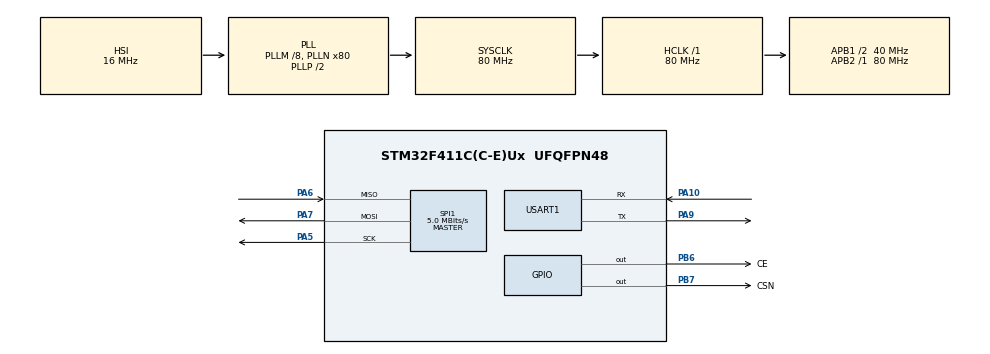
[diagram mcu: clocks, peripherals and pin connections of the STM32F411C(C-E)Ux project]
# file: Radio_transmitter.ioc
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Mcu.Family=STM32F4
Mcu.Name=STM32F411C(C-E)Ux
Mcu.Package=UFQFPN48
NVIC.PriorityGroup=NVIC_PRIORITYGROUP_4
NVIC.USART1_IRQn=true\:0\:0\:false\:false\:true\:true\:true\:true
PA10.Mode=Asynchronous
PA10.Signal=USART1_RX
PA13.Mode=Serial_Wire
PA13.Signal=SYS_JTMS-SWDIO
PA14.Mode=Serial_Wire
PA14.Signal=SYS_JTCK-SWCLK
PA5.Mode=Full_Duplex_Master
PA5.Signal=SPI1_SCK
PA6.Mode=Full_Duplex_Master
PA6.Signal=SPI1_MISO
PA7.Mode=Full_Duplex_Master
PA7.Signal=SPI1_MOSI
PA9.Mode=Asynchronous
PA9.Signal=USART1_TX
PB6.GPIO_Label=CE
PB6.GPIO_Speed=GPIO_SPEED_FREQ_HIGH
PB6.PinState=GPIO_PIN_RESET
PB6.Signal=GPIO_Output
PB7.GPIO_Label=CSN
PB7.GPIO_Speed=GPIO_SPEED_FREQ_HIGH
PB7.Signal=GPIO_Output
PH0\ -\ OSC_IN.Mode=HSE-External-Oscillator
PH0\ -\ OSC_IN.Signal=RCC_OSC_IN
PH1\ -\ OSC_OUT.Mode=HSE-External-Oscillator
PH1\ -\ OSC_OUT.Signal=RCC_OSC_OUT
ProjectManager.HeapSize=0x200
ProjectManager.StackSize=0x400
ProjectManager.TargetToolchain=STM32CubeIDE
RCC.48MHZClocksFreq_Value=40000000
RCC.AHBFreq_Value=80000000
RCC.APB1CLKDivider=RCC_HCLK_DIV2
RCC.APB1Freq_Value=40000000
RCC.APB1TimFreq_Value=80000000
RCC.APB2Freq_Value=80000000
RCC.APB2TimFreq_Value=80000000
RCC.CortexFreq_Value=80000000
RCC.HCLKFreq_Value=80000000
RCC.HSE_VALUE=25000000
RCC.HSI_VALUE=16000000
RCC.LSE_VALUE=32768
RCC.PLLM=8
RCC.PLLN=80
RCC.SYSCLKFreq_VALUE=80000000
RCC.SYSCLKSource=RCC_SYSCLKSOURCE_PLLCLK
RCC.VCOOutputFreq_Value=160000000
SPI1.BaudRatePrescaler=SPI_BAUDRATEPRESCALER_16
SPI1.CalculateBaudRate=5.0 MBits/s
SPI1.Direction=SPI_DIRECTION_2LINES
SPI1.Mode=SPI_MODE_MASTER
SPI1.VirtualType=VM_MASTER
USART1.VirtualMode=VM_ASYNC
board=custom

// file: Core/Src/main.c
/* USER CODE BEGIN Header */
/**
  ******************************************************************************
  * @file           : main.c
  * @brief          : Main program body
  ******************************************************************************
  * @attention
  *
  * Copyright (c) 2025 STMicroelectronics.
  * All rights reserved.
  *
  * This software is licensed under terms that can be found in the LICENSE file
  * in the root directory of this software component.
  * If no LICENSE file comes with this software, it is provided AS-IS.
  *
  ******************************************************************************
  */
/* USER CODE END Header */
#include "main.h"

/* USER CODE BEGIN Includes */
#include <math.h>
#include <stdio.h>
#include <string.h>
#include <inttypes.h>
#include "NRF24.h"
#include "NRF24_reg_addresses.h"
/* USER CODE END Includes */

/* USER CODE BEGIN PTD */

#pragma pack(push, 1)
typedef struct {
    uint8_t id;
    float Vx, Vy, Vang;
    uint8_t kicker;
    uint8_t config;
    uint8_t param;
} Pacote;
#pragma pack(pop)

uint8_t addr[5] = {'C', 'E', 'R', 'B', 'R'};
uint8_t channel = 83;
uint8_t pld_size = sizeof(Pacote);

Pacote pct_undf;
Pacote pct_robo[16];
uint8_t pendente_undf;
uint8_t pendente[16];
/* USER CODE END PTD */

SPI_HandleTypeDef hspi1;

UART_HandleTypeDef huart1;

void SystemClock_Config(void);
static void MX_GPIO_Init(void);
static void MX_SPI1_Init(void);
static void MX_USART1_UART_Init(void);

/* USER CODE BEGIN 0 */
uint8_t usart_rx[sizeof(Pacote) + 2];
Pacote pacote_recebido;
Pacote pct_temp;
void processa_pacote(uint8_t* buffer) {
    if (buffer[0] == 0xAA && buffer[1] == 0xBB) {
        memcpy(&pacote_recebido, &buffer[2], sizeof(Pacote));

        memcpy(&pct_temp, &buffer[2], sizeof(Pacote));
        if(pct_temp.id != 0xFF){
        	memcpy(&pct_robo[pacote_recebido.id], &buffer[2], sizeof(Pacote));
            pendente[pacote_recebido.id] = 1;
        } else {
        	memcpy(&pct_undf, &buffer[2], sizeof(Pacote));
        	pendente_undf = 1;
        }
    }
}
void HAL_UART_RxCpltCallback(UART_HandleTypeDef *huart) {
    if (huart->Instance == USART1) {
        processa_pacote(usart_rx);
        HAL_UART_Receive_IT(&huart1, usart_rx, sizeof(usart_rx));  // reinicia recepção
    }
}
/* USER CODE END 0 */

int main(void)
{

  /* MCU Configuration--------------------------------------------------------*/

  /* Reset of all peripherals, Initializes the Flash interface and the Systick. */
  HAL_Init();

  /* Configure the system clock */
  SystemClock_Config();

  /* Initialize all configured peripherals */
  MX_GPIO_Init();
  MX_SPI1_Init();
  MX_USART1_UART_Init();
  /* USER CODE BEGIN 2 */
  ce_high();

  HAL_Delay(5);

  ce_low();

  nrf24_init();

  nrf24_auto_ack_all(auto_ack);
  nrf24_en_ack_pld(disable);
  nrf24_dpl(disable);

  nrf24_tx_pwr(_0dbm);
  nrf24_data_rate(_2mbps);
  nrf24_set_channel(channel);
  nrf24_set_addr_width(5);

  nrf24_pipe_pld_size(0, pld_size);
  nrf24_set_crc(en_crc, _1byte);

  nrf24_auto_retr_delay(0);
  nrf24_auto_retr_limit(5);

  nrf24_open_tx_pipe(addr);
  nrf24_open_rx_pipe(0, addr);

  nrf24_stop_listen();

  ce_high();
  HAL_Delay(5);

  char welcome_msg[] = "Estacao de rádio pronta!\r\n";
  HAL_UART_Transmit(&huart1, (uint8_t*)welcome_msg, strlen(welcome_msg), 100); // 100ms de timeout

  for (int i = 0; i < 16; i++) {
      pct_robo[i].id = i;
      pct_robo[i].Vx = 0;
      pct_robo[i].Vy = 0;
      pct_robo[i].Vang = 0;
      pct_robo[i].kicker = 0;
      pct_robo[i].config = 0;
      pct_robo[i].param = 0;
      pendente[i] = 0;
  }
  pct_undf.id = 0xFF;
  pct_undf.Vx = 0;
  pct_undf.Vy = 0;
  pct_undf.Vang = 0;
  pct_undf.kicker = 0;
  pct_undf.config = 0;
  pct_undf.param = 0;
  pendente_undf = 0;

  pct_temp.id = 0xFF;
  pct_temp.Vx = 0;
  pct_temp.Vy = 0;
  pct_temp.Vang = 0;
  pct_temp.kicker = 0;
  pct_temp.config = 0;
  pct_temp.param = 0;

  HAL_UART_Receive_IT(&huart1, usart_rx, sizeof(usart_rx));  // primeira chamada

  /* USER CODE END 2 */

  /* Infinite loop */
  /* USER CODE BEGIN WHILE */
  while (1)
  {

	  uint8_t tx_buffer[pld_size];
	  char tx_usart_buffer[64];
	  char msg[64];
	  for (int i = 0; i < 16 ; i++){
		  if (pendente[i]){
			  memcpy(tx_buffer, &pct_robo[i], sizeof(Pacote));
			  sprintf(tx_usart_buffer, "\nPacote enviado para robo %d\n", pct_robo[i].id);
			  snprintf(msg, sizeof(msg), "%d %.2f %.2f %.2f %d %d %d\r\n",
					   pct_robo[i].id,
					   pct_robo[i].Vx,
					   pct_robo[i].Vy,
					   pct_robo[i].Vang,
					   pct_robo[i].kicker,
					   pct_robo[i].config,
					   pct_robo[i].param);

			  if (nrf24_transmit(tx_buffer, pld_size)) {
				  HAL_UART_Transmit(&huart1, (uint8_t*)tx_usart_buffer, strlen(tx_usart_buffer), 100);
				  HAL_UART_Transmit(&huart1, (uint8_t*)msg, strlen(msg), 100);
				  pendente[i] = 0;
			  }
			  else {
				  i--;	//nao sei, resolveu, ele simplesmente nao transmite os pares sem isso. deve ser bobeira
			  }
		  }
		  if (pendente_undf){
		  			  memcpy(tx_buffer, &pct_undf, sizeof(Pacote));
		  			  sprintf(tx_usart_buffer, "\nPacote enviado para robo %d\n", pct_undf.id);
		  			  snprintf(msg, sizeof(msg), "%d %.2f %.2f %.2f %d %d %d\r\n",
		  					   pct_undf.id,
							   pct_undf.Vx,
							   pct_undf.Vy,
							   pct_undf.Vang,
							   pct_undf.kicker,
							   pct_undf.config,
							   pct_undf.param);

		  			  if (nrf24_transmit(tx_buffer, pld_size)) {
		  				  HAL_UART_Transmit(&huart1, (uint8_t*)tx_usart_buffer, strlen(tx_usart_buffer), 100);
		  				  HAL_UART_Transmit(&huart1, (uint8_t*)msg, strlen(msg), 100);
		  				  pendente_undf = 0;
		  			  }
	  }
  }
    /* USER CODE END WHILE */

}
}

void SystemClock_Config(void)
{
  RCC_OscInitTypeDef RCC_OscInitStruct = {0};
  RCC_ClkInitTypeDef RCC_ClkInitStruct = {0};

  /** Configure the main internal regulator output voltage
  */
  __HAL_RCC_PWR_CLK_ENABLE();
  __HAL_PWR_VOLTAGESCALING_CONFIG(PWR_REGULATOR_VOLTAGE_SCALE1);

  /** Initializes the RCC Oscillators according to the specified parameters
  * in the RCC_OscInitTypeDef structure.
  */
  RCC_OscInitStruct.OscillatorType = RCC_OSCILLATORTYPE_HSI;
  RCC_OscInitStruct.HSIState = RCC_HSI_ON;
  RCC_OscInitStruct.HSICalibrationValue = RCC_HSICALIBRATION_DEFAULT;
  RCC_OscInitStruct.PLL.PLLState = RCC_PLL_ON;
  RCC_OscInitStruct.PLL.PLLSource = RCC_PLLSOURCE_HSI;
  RCC_OscInitStruct.PLL.PLLM = 8;
  RCC_OscInitStruct.PLL.PLLN = 80;
  RCC_OscInitStruct.PLL.PLLP = RCC_PLLP_DIV2;
  RCC_OscInitStruct.PLL.PLLQ = 4;
  if (HAL_RCC_OscConfig(&RCC_OscInitStruct) != HAL_OK)
  {
    Error_Handler();
  }

  /** Initializes the CPU, AHB and APB buses clocks
  */
  RCC_ClkInitStruct.ClockType = RCC_CLOCKTYPE_HCLK|RCC_CLOCKTYPE_SYSCLK
                              |RCC_CLOCKTYPE_PCLK1|RCC_CLOCKTYPE_PCLK2;
  RCC_ClkInitStruct.SYSCLKSource = RCC_SYSCLKSOURCE_PLLCLK;
  RCC_ClkInitStruct.AHBCLKDivider = RCC_SYSCLK_DIV1;
  RCC_ClkInitStruct.APB1CLKDivider = RCC_HCLK_DIV2;
  RCC_ClkInitStruct.APB2CLKDivider = RCC_HCLK_DIV1;

  if (HAL_RCC_ClockConfig(&RCC_ClkInitStruct, FLASH_LATENCY_2) != HAL_OK)
  {
    Error_Handler();
  }
}

static void MX_SPI1_Init(void)
{

  /* SPI1 parameter configuration*/
  hspi1.Instance = SPI1;
  hspi1.Init.Mode = SPI_MODE_MASTER;
  hspi1.Init.Direction = SPI_DIRECTION_2LINES;
  hspi1.Init.DataSize = SPI_DATASIZE_8BIT;
  hspi1.Init.CLKPolarity = SPI_POLARITY_LOW;
  hspi1.Init.CLKPhase = SPI_PHASE_1EDGE;
  hspi1.Init.NSS = SPI_NSS_SOFT;
  hspi1.Init.BaudRatePrescaler = SPI_BAUDRATEPRESCALER_8;
  hspi1.Init.FirstBit = SPI_FIRSTBIT_MSB;
  hspi1.Init.TIMode = SPI_TIMODE_DISABLE;
  hspi1.Init.CRCCalculation = SPI_CRCCALCULATION_DISABLE;
  hspi1.Init.CRCPolynomial = 10;
  if (HAL_SPI_Init(&hspi1) != HAL_OK)
  {
    Error_Handler();
  }

}

static void MX_USART1_UART_Init(void)
{

  huart1.Instance = USART1;
  huart1.Init.BaudRate = 115200;
  huart1.Init.WordLength = UART_WORDLENGTH_8B;
  huart1.Init.StopBits = UART_STOPBITS_1;
  huart1.Init.Parity = UART_PARITY_NONE;
  huart1.Init.Mode = UART_MODE_TX_RX;
  huart1.Init.HwFlowCtl = UART_HWCONTROL_NONE;
  huart1.Init.OverSampling = UART_OVERSAMPLING_16;
  if (HAL_UART_Init(&huart1) != HAL_OK)
  {
    Error_Handler();
  }

}

static void MX_GPIO_Init(void)
{
  GPIO_InitTypeDef GPIO_InitStruct = {0};

  /* GPIO Ports Clock Enable */
  __HAL_RCC_GPIOH_CLK_ENABLE();
  __HAL_RCC_GPIOA_CLK_ENABLE();
  __HAL_RCC_GPIOB_CLK_ENABLE();

  /*Configure GPIO pin Output Level */
  HAL_GPIO_WritePin(GPIOB, CE_Pin|CSN_Pin, GPIO_PIN_RESET);

  /*Configure GPIO pins : CE_Pin CSN_Pin */
  GPIO_InitStruct.Pin = CE_Pin|CSN_Pin;
  GPIO_InitStruct.Mode = GPIO_MODE_OUTPUT_PP;
  GPIO_InitStruct.Pull = GPIO_NOPULL;
  GPIO_InitStruct.Speed = GPIO_SPEED_FREQ_HIGH;
  HAL_GPIO_Init(GPIOB, &GPIO_InitStruct);

}

void Error_Handler(void)
{
  __disable_irq();
  while (1)
  {
  }
}
